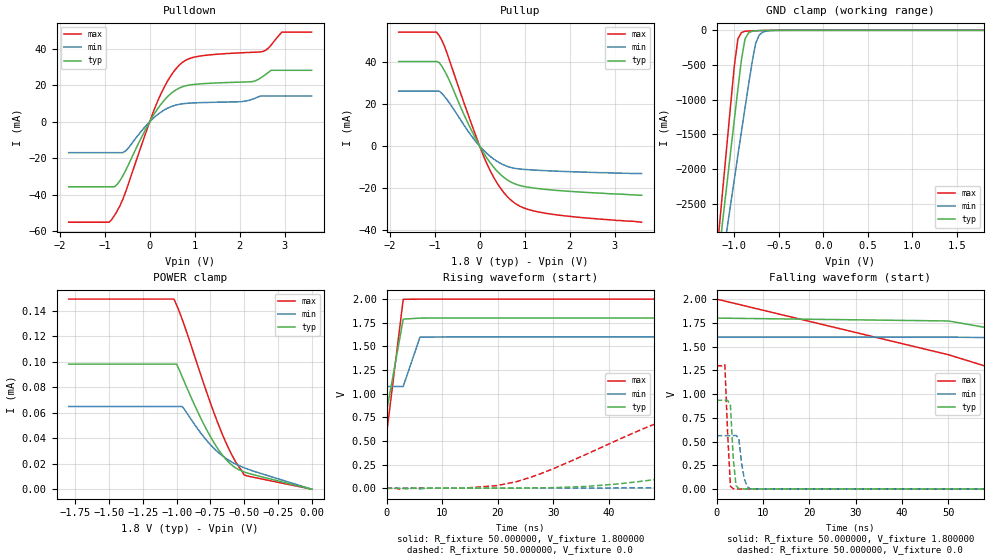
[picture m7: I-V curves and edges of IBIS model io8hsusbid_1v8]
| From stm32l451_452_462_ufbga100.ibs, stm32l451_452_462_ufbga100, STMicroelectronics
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|   Model io8hsusbid_1v8
[Model]  io8hsusbid_1v8
Model_type I/O
Polarity   Non-Inverting
Enable   Active-Low
Vinl =   0.540000V
Vinh =   1.260000V
Vmeas =  0.900000V
Cref =   100.000000nF
Rref =   1.000000k
Vref =   1.800000V
C_comp   2.022300pF   2.021100pF   2.049600pF
[Temperature Range]   25.000000   0.125000k   -40.000000
[Pullup Reference]   1.800000V   1.600000V   2.000000V
[Pulldown Reference]   0.0V   0.0V   0.0V
[POWER Clamp Reference]   1.800000V   1.600000V   2.000000V
[GND Clamp Reference]   0.0V   0.0V   0.0V
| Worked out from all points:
|   slope of the pulldown table from 0 to 0.27 V, typ, clamps not added: 26.4 ohm
|   slope of the pullup table from 0 to 0.27 V, typ, clamps not added: 30.1 ohm
|   GND clamp passes 1 mA (typ) near -0.60 V on its own axis
|   rising waveform, R_fixture 50.000000, V_fixture 1.800000: 20-80 % time 1.82ns typ, 1.81ns min, 1.81ns max; typ from 0.81 V to 1.8 V
|   rising waveform, R_fixture 50.000000, V_fixture 0.0: 20-80 % time 65ns typ, 101ns min, 35.5ns max; typ from 0.001 V to 0.935 V
|   falling waveform, R_fixture 50.000000, V_fixture 1.800000: 20-80 % time 76ns typ, 121ns min, 62.9ns max; typ from 1.8 V to 0.81 V
|   falling waveform, R_fixture 50.000000, V_fixture 0.0: 20-80 % time 747ps typ, 989ps min, 727ps max; typ from 0.935 V to 0.001 V
[Pulldown]
|Voltage   I(typ)   I(min)   I(max)
-1.8V     -35.64mA   -16.93mA   -55.1mA
-840mV    -35.64mA   -16.93mA   -53.52mA
-720mV    -34.31mA   -16.93mA   -48.86mA
-540mV    -27.04mA   -16.13mA   -38.89mA
240mV     9.303mA    5.14mA     14.78mA
480mV     15.67mA    8.374mA    25.64mA
720mV     19.18mA    9.883mA    32.46mA
1.14V     20.87mA    10.54mA    36.19mA
2.28V     22.08mA    12.36mA    38.18mA
2.52V     24.96mA    14.18mA    38.63mA
2.94V     28.3mA     14.18mA    49.27mA
3.6V      28.3mA     14.18mA    49.27mA
[Pullup]
|Voltage   I(typ)   I(min)   I(max)
-1.8V     40.48mA    26.32mA    54.53mA
-960mV    40.48mA    26.32mA    54.53mA
-900mV    39.98mA    26.32mA    52.91mA
-780mV    36mA       23.73mA    47.67mA
-240mV    10.08mA    6.588mA    14.1mA
120mV     -4.38mA    -2.702mA   -6.45mA
240mV     -8.143mA   -5.004mA   -12mA
420mV     -12.68mA   -7.723mA   -18.77mA
720mV     -17.48mA   -10.36mA   -26.28mA
1.02V     -19.45mA   -11.2mA    -29.88mA
1.5V      -20.78mA   -11.79mA   -32.25mA
3.6V      -23.5mA    -13.1mA    -36.4mA
[GND_clamp]
|Voltage   I(typ)   I(min)   I(max)
-1.8V     -9.895A    -9.296A    -9.457A
-1.2V     -3.533A    -3.902A    -3.274A
-1.16V    -3.082A    -3.55A     -2.716A
-1.12V    -2.631A    -3.198A    -2.159A
-1.08V    -2.182A    -2.848A    -1.604A
-1V       -1.289A    -2.15A     -512mA
-960mV    -849.4mA   -1.803A    -123.8mA
-920mV    -422.4mA   -1.459A    -30.79mA
-880mV    -123.7mA   -1.118A    -13.63mA
-760mV    -6.32mA    -185mA     -5.692mA
-680mV    -2.569mA   -25.43mA   -2.907mA
1.8V      0A         0A         0A
[POWER_clamp]
|Voltage   I(typ)   I(min)   I(max)
-1.8V     98.28uA    64.99uA    149.4uA
-1.02V    98.28uA    64.99uA    149.4uA
-1V       98.28uA    64.99uA    144.6uA
-960mV    88.57uA    64.99uA    133.7uA
-820mV    55.53uA    43.9uA     89.47uA
-760mV    43.23uA    36.15uA    70.81uA
-700mV    32.6uA     29.7uA     53.4uA
-640mV    24.05uA    24.57uA    37.82uA
-600mV    19.7uA     21.84uA    28.76uA
-560mV    16.51uA    19.57uA    21uA
-500mV    13.54uA    16.82uA    11.13uA
0V        0A         0A         0A
[Ramp]
| variable   typ   min   max
dV/dt_r  0.56071/65.15866n   0.33710/0.11418u   0.77863/35.46512n
dV/dt_f  0.59414/66.69548n   0.31416/0.11610u   0.85869/35.03890n
R_load = 50.000000
[Rising Waveform]
R_fixture= 50.000000
V_fixture= 1.800000
V_fixture_min= 1.600000
V_fixture_max= 2.000000
|time   V(typ)   V(min)   V(max)
0s        809.8mV    1.076V     568.8mV
3.003ns   1.788V     1.076V     1.997V
6.006ns   1.799V     1.597V     1.999V
297.3ns   1.8V       1.6V       2V
[Rising Waveform]
R_fixture= 50.000000
V_fixture= 0.0
V_fixture_min= 0.0
V_fixture_max= 0.0
|time   V(typ)   V(min)   V(max)
0s        726.2uV    1.152mV    482.7uV
23.42ns   3.609mV    2.691mV    71.9mV
41.44ns   46.16mV    4.275mV    507.9mV
60.06ns   208.7mV    13.96mV    923.5mV
72.67ns   345.5mV    30.62mV    1.099V
87.69ns   499.8mV    65.59mV    1.207V
121.3ns   741mV      187.8mV    1.278V
159.2ns   867.8mV    326.7mV    1.294V
218ns     923.7mV    479.9mV    1.298V
299.1ns   935.3mV    563.1mV    1.298V
[Falling Waveform]
R_fixture= 50.000000
V_fixture= 1.800000
V_fixture_min= 1.600000
V_fixture_max= 2.000000
|time   V(typ)   V(min)   V(max)
0s        1.8V       1.6V       2V
50.05ns   1.77V      1.6V       1.414V
100.1ns   1.343V     1.568V     664.5mV
150.2ns   975.3mV    1.437V     591.2mV
200.2ns   869.9mV    1.277V     575.4mV
250.2ns   835.5mV    1.179V     570.6mV
300.3ns   820.6mV    1.133V     569.5mV
400.4ns   812.2mV    1.096V     568.9mV
500.5ns   810.3mV    1.083V     568.8mV
4.955us   809.8mV    1.076V     568.8mV
[Falling Waveform]
R_fixture= 50.000000
V_fixture= 0.0
V_fixture_min= 0.0
V_fixture_max= 0.0
|time   V(typ)   V(min)   V(max)
0s        935.3mV    563.1mV    1.298V
1.802ns   935.3mV    563.1mV    1.31V
2.402ns   934.5mV    563.1mV    581.1mV
3.003ns   881.3mV    563.1mV    30.52mV
3.604ns   328.2mV    562.6mV    5.136mV
4.204ns   37.75mV    566.2mV    3.027mV
4.805ns   6.088mV    535.2mV    2.602mV
6.006ns   2.59mV     108.2mV    2.427mV
7.808ns   2.344mV    3.793mV    2.373mV
299.1ns   726.2uV    1.152mV    482.7uV
